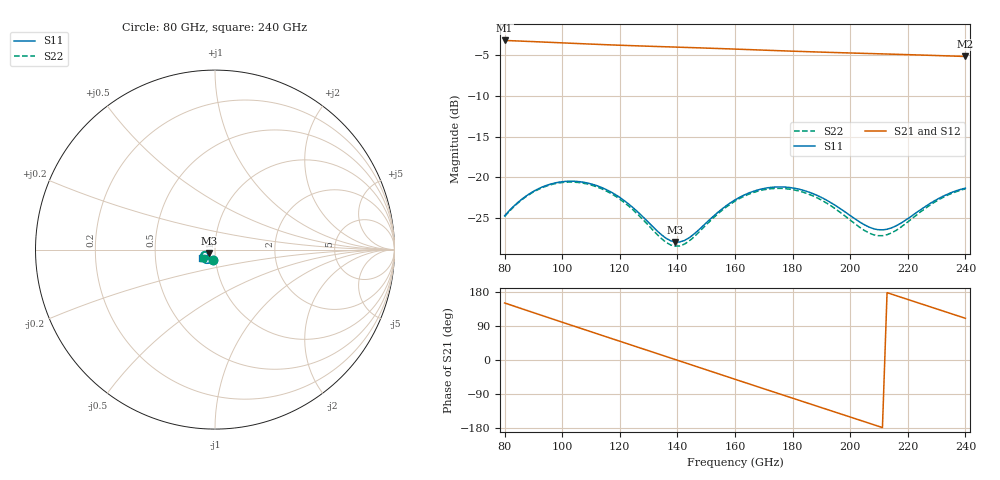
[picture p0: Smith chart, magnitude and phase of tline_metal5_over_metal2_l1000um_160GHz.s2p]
#  GHZ S DB R 50
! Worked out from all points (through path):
!   101 points, 80 GHz to 240 GHz, reference 50 ohm
!   highest |S21| = -3.23 dB at 80 GHz (marker M1); lowest = -5.2 dB at 240 GHz (marker M2)
!   group delay of S21, straight-line fit = 6.95 ps
!   lowest |S11| = -27.9 dB at 139.2 GHz (marker M3), VSWR 1.08, Z = 46.7 - j1.97 ohm
!   |S11| at or under -10 dB: start of sweep to end of sweep
!   |S22| runs from -28.4 to -20.6 dB; largest |S21 - S12| = 1.1e-14
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80  -24.71 -103.3  -3.23 150.5  -3.23 150.5  -24.79 -102.4
88  -22.16 -110.9  -3.35 130.2  -3.35 130.2  -22.23 -110.6
94.4  -21.00 -121.1  -3.44 113.9  -3.44 113.9  -21.08 -121.0
100.8  -20.50 -132.4  -3.54 97.7  -3.54 97.7  -20.60 -132.6
107.2  -20.59 -143.7  -3.64 81.6  -3.64 81.6  -20.71 -144.0
113.6  -21.23 -154.0  -3.73 65.5  -3.73 65.5  -21.39 -154.7
121.6  -22.86 -164.0  -3.84 45.5  -3.84 45.5  -23.09 -164.9
134.4  -27.01 -160.6  -3.99 13.4  -3.99 13.4  -27.48 -161.0
139.2  -27.92 -148.3  -4.05 1.4  -4.05 1.4  -28.43 -147.6
142.4  -27.74 -139.0  -4.08 -6.7  -4.08 -6.7  -28.18 -137.6
148.8  -25.98 -127.2  -4.15 -22.7  -4.15 -22.7  -26.24 -125.6
160  -22.76 -129.4  -4.29 -50.8  -4.29 -50.8  -22.91 -128.6
166.4  -21.71 -136.5  -4.37 -66.9  -4.37 -66.9  -21.85 -136.1
172.8  -21.22 -144.9  -4.46 -82.8  -4.46 -82.8  -21.38 -144.9
179.2  -21.25 -153.5  -4.54 -98.8  -4.54 -98.8  -21.46 -153.8
187.2  -22.01 -162.9  -4.63 -118.7  -4.63 -118.7  -22.30 -163.6
201.6  -25.07 -166.9  -4.78 -154.4  -4.78 -154.4  -25.67 -167.4
208  -26.28 -158.2  -4.85 -170.4  -4.85 -170.4  -27.02 -157.1
214.4  -26.18 -145.6  -4.91 173.7  -4.91 173.7  -26.80 -142.6
225.6  -23.69 -136.4  -5.03 145.8  -5.03 145.8  -23.93 -133.2
233.6  -22.09 -140.6  -5.12 125.9  -5.12 125.9  -22.22 -138.0
240  -21.32 -146.8  -5.20 110.0  -5.20 110.0  -21.41 -144.7
